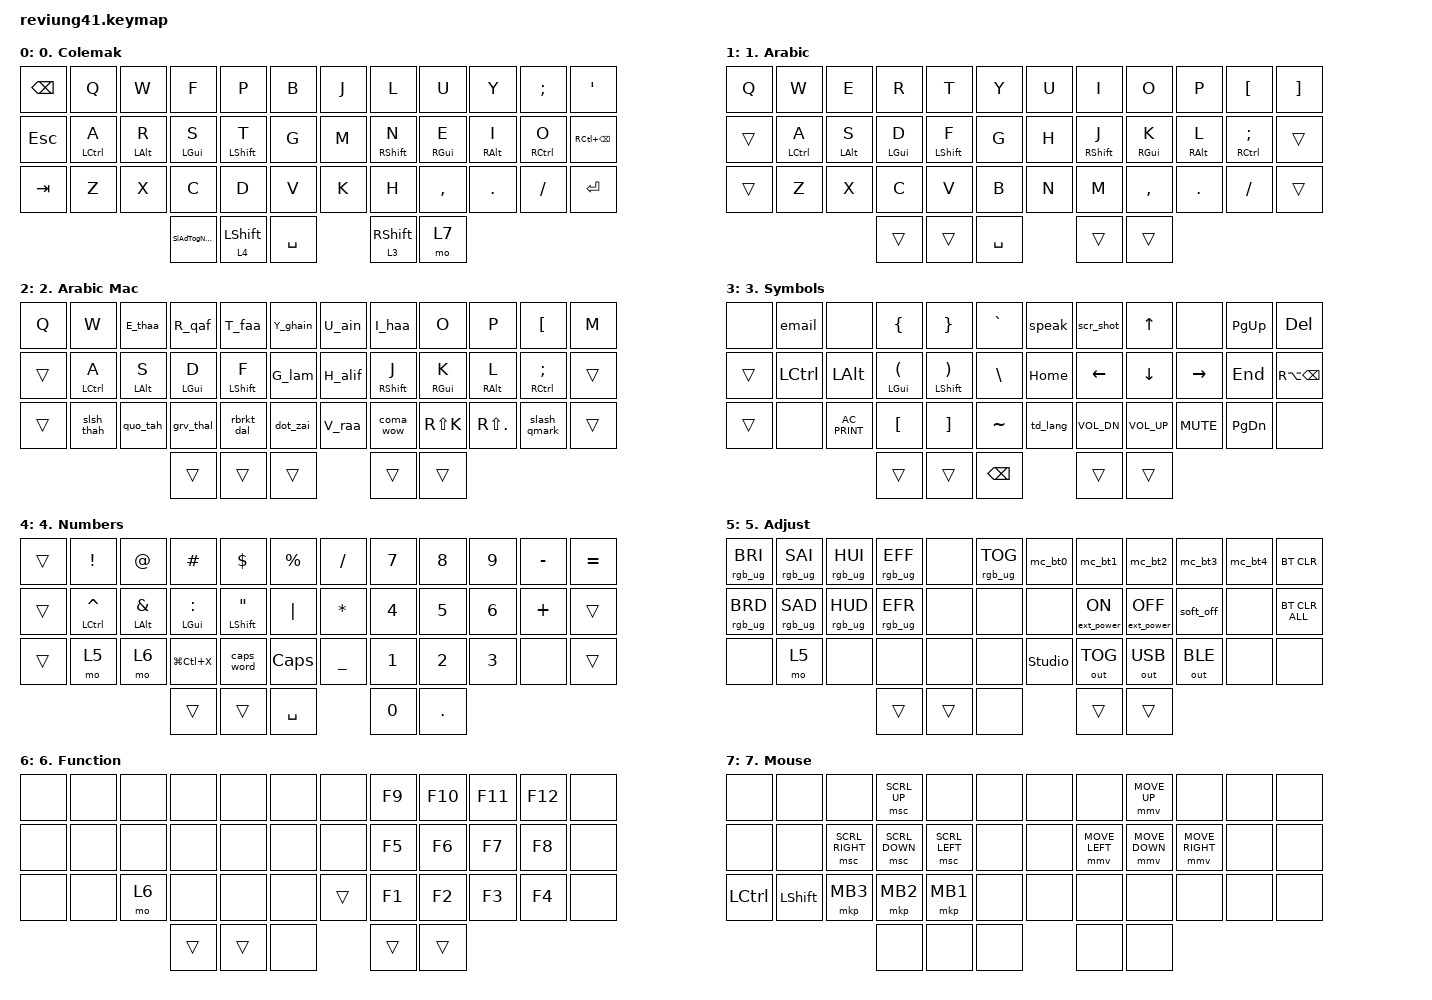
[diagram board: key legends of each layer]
/*
 * Copyright (c) 2020 The ZMK Contributors
 *
 * SPDX-License-Identifier: MIT
 */

#include <behaviors.dtsi>
#include <dt-bindings/zmk/bt.h>
#include <dt-bindings/zmk/ext_power.h>
#include <dt-bindings/zmk/keys.h>
#include <dt-bindings/zmk/outputs.h>
#include <dt-bindings/zmk/pointing.h>
#include <dt-bindings/zmk/rgb.h>

/ {
    macros {
        email: email {
            compatible = "zmk,behavior-macro";
            label = "EMAIL";
            #binding-cells = <0>;
            bindings = <&kp A &kp K &kp AT &kp A &kp L &kp I &kp K &kp A &kp R &kp A &kp M &kp DOT &kp C &kp O &kp M>;
        };

        speak: speak {
            compatible = "zmk,behavior-macro";
            label = "SPEAK";
            #binding-cells = <0>;
            bindings =
                <&macro_press>,
                <&kp LALT>,
                <&macro_tap>,
                <&kp ESCAPE>,
                <&macro_release>,
                <&kp LALT>;
        };

        scr_shot: scr_shot {
            compatible = "zmk,behavior-macro";
            label = "SCR_SHOT";
            #binding-cells = <0>;
            bindings =
                <&macro_press>,
                <&kp LEFT_SHIFT &kp RIGHT_GUI>,
                <&macro_tap>,
                <&kp N5>,
                <&macro_release>,
                <&kp LEFT_SHIFT &kp RIGHT_GUI>;
        };

        arabic_mac: arabic_mac {
            compatible = "zmk,behavior-macro";
            label = "ARABIC_MAC";
            #binding-cells = <0>;
            bindings =
                <&macro_press>,
                <&kp LEFT_CONTROL>,
                <&macro_tap>,
                <&kp SPACE>,
                <&macro_wait_time 1000>,
                <&macro_release>,
                <&kp LEFT_CONTROL>,
                <&macro_tap>,
                <&tog 1>;
        };

        lang_lx: lang_lx {
            compatible = "zmk,behavior-macro";
            #binding-cells = <0>;
            bindings = <&kp RC(SPACE)>, <&macro_wait_time 500>, <&tog 2>;

            label = "LANG_LX";
        };

        mc_bt0: mc_bt0 {
            compatible = "zmk,behavior-macro";
            #binding-cells = <0>;
            bindings =
                <&rgb_ug RGB_TOG>,
                <&macro_wait_time 500>,
                <&bt BT_SEL 0>,
                <&macro_wait_time 500>,
                <&rgb_ug RGB_TOG>;

            label = "MC_BT0";
        };

        mc_bt1: mc_bt1 {
            compatible = "zmk,behavior-macro";
            #binding-cells = <0>;
            bindings =
                <&rgb_ug RGB_TOG>,
                <&macro_wait_time 500>,
                <&bt BT_SEL 1>,
                <&macro_wait_time 500>,
                <&rgb_ug RGB_TOG>;

            label = "MC_BT1";
        };

        mc_bt2: mc_bt2 {
            compatible = "zmk,behavior-macro";
            #binding-cells = <0>;
            bindings =
                <&rgb_ug RGB_TOG>,
                <&macro_wait_time 500>,
                <&bt BT_SEL 2>,
                <&macro_wait_time 500>,
                <&rgb_ug RGB_TOG>;

            label = "MC_BT2";
        };

        mc_bt3: mc_bt3 {
            compatible = "zmk,behavior-macro";
            #binding-cells = <0>;
            bindings =
                <&rgb_ug RGB_TOG>,
                <&macro_wait_time 500>,
                <&bt BT_SEL 3>,
                <&macro_wait_time 500>,
                <&rgb_ug RGB_TOG>;

            label = "MC_BT3";
        };

        mc_bt4: mc_bt4 {
            compatible = "zmk,behavior-macro";
            #binding-cells = <0>;
            bindings =
                <&rgb_ug RGB_TOG>,
                <&macro_wait_time 500>,
                <&bt BT_SEL 4>,
                <&macro_wait_time 500>,
                <&rgb_ug RGB_TOG>;

            label = "MC_BT4";
        };
    };

    behaviors {
        hm: homerow_mods {
            compatible = "zmk,behavior-hold-tap";
            label = "HOMEROW_MODS";
            #binding-cells = <2>;
            tapping-term-ms = <200>;
            quick-tap-ms = <125>;
            flavor = "tap-preferred";
            bindings = <&kp>, <&kp>;
        };

        mo_tog: mo_tog {
            compatible = "zmk,behavior-hold-tap";
            #binding-cells = <2>;
            flavor = "balanced";
            tapping-term-ms = <200>;
            bindings = <&mo>, <&tog>;

            label = "MO_TOG";
            quick-tap-ms = <125>;
        };

        mo_sk: mo_sk {
            compatible = "zmk,behavior-hold-tap";
            #binding-cells = <2>;
            flavor = "balanced";
            tapping-term-ms = <200>;
            bindings = <&mo>, <&sk>;

            label = "MO_SK";
            quick-tap-ms = <125>;
        };

        SlAdTogNum: SlAdTogNum {
            compatible = "zmk,behavior-tap-dance";
            label = "SLADTOGNUM";
            #binding-cells = <0>;
            bindings = <&tog 5>, <&tog 4>;
        };

        langcaps: langcaps {
            compatible = "zmk,behavior-tap-dance";
            label = "LANGCAPS";
            #binding-cells = <0>;
            bindings = <&lang_lx>, <&caps_word>;
        };

        hmr: hmr {
            compatible = "zmk,behavior-hold-tap";
            label = "HMR";
            #binding-cells = <2>;
            tapping-term-ms = <200>;
            quick-tap-ms = <125>;
            flavor = "balanced";
            bindings = <&kp>, <&kp>;

            hold-trigger-key-positions = <0 1 2 3 4 5 12 13 14 15 16 17 24 25 26 27 28 29>;
            hold-trigger-on-release;
        };

        hml: hml {
            compatible = "zmk,behavior-hold-tap";
            label = "HML";
            #binding-cells = <2>;
            tapping-term-ms = <200>;
            quick-tap-ms = <125>;
            flavor = "balanced";
            bindings = <&kp>, <&kp>;

            hold-trigger-key-positions = <6 7 8 9 10 11 18 19 20 21 22 23 30 31 32 33 34 35>;
            hold-trigger-on-release;
        };

        slsh_thah: slsh_thah {
            compatible = "zmk,behavior-mod-morph";
            label = "SLSH_THAH";
            bindings = <&kp SLASH>, <&none>;

            #binding-cells = <0>;
            mods = <(MOD_RSFT|MOD_LSFT)>;
        };

        quo_tah: quo_tah {
            compatible = "zmk,behavior-mod-morph";
            label = "QUO_TAH";
            bindings = <&kp SINGLE_QUOTE>, <&kp N>;

            #binding-cells = <0>;
            mods = <(MOD_RSFT)>;
        };

        grv_thal: grv_thal {
            compatible = "zmk,behavior-mod-morph";
            label = "GRV_THAL";
            bindings = <&kp GRAVE>, <&kp Z>;

            #binding-cells = <0>;
            mods = <(MOD_RSFT)>;
        };

        rbrkt_dal: rbrkt_dal {
            compatible = "zmk,behavior-mod-morph";
            label = "RBRKT_DAL";
            bindings = <&kp RBKT>, <&kp X>;

            #binding-cells = <0>;
            mods = <(MOD_RSFT)>;
        };

        dot_zai: dot_zai {
            compatible = "zmk,behavior-mod-morph";
            label = "DOT_ZAI";
            bindings = <&kp DOT>, <&kp H>;

            #binding-cells = <0>;
            mods = <(MOD_RSFT)>;
            keep-mods = <(MOD_RSFT)>;
        };

        V_raa: V_raa {
            compatible = "zmk,behavior-mod-morph";
            label = "V_RAA";
            bindings = <&kp V>, <&kp Y>;

            #binding-cells = <0>;
            mods = <(MOD_LSFT)>;
            keep-mods = <(MOD_LSFT)>;
        };

        coma_wow: coma_wow {
            compatible = "zmk,behavior-mod-morph";
            label = "COMA_WOW";
            bindings = <&kp COMMA>, <&kp C>;

            #binding-cells = <0>;
            mods = <(MOD_LSFT)>;
        };

        E_thaa: E_thaa {
            compatible = "zmk,behavior-mod-morph";
            label = "E_THAA";
            bindings = <&kp E>, <&kp A>;

            #binding-cells = <0>;
            mods = <(MOD_RSFT)>;
            keep-mods = <(MOD_RSFT)>;
        };

        R_qaf: R_qaf {
            compatible = "zmk,behavior-mod-morph";
            label = "R_QAF";
            bindings = <&kp R>, <&kp S>;

            #binding-cells = <0>;
            mods = <(MOD_RSFT)>;
            keep-mods = <(MOD_RSFT)>;
        };

        T_faa: T_faa {
            compatible = "zmk,behavior-mod-morph";
            label = "T_FAA";
            bindings = <&kp T>, <&kp E>;

            #binding-cells = <0>;
            mods = <(MOD_RSFT)>;
            keep-mods = <(MOD_RSFT)>;
        };

        Y_ghain: Y_ghain {
            compatible = "zmk,behavior-mod-morph";
            label = "Y_GHAIN";
            bindings = <&kp Y>, <&kp R>;

            #binding-cells = <0>;
            mods = <(MOD_RSFT)>;
            keep-mods = <(MOD_RSFT)>;
        };

        U_ain: U_ain {
            compatible = "zmk,behavior-mod-morph";
            label = "U_AIN";
            bindings = <&kp U>, <&kp X>;

            #binding-cells = <0>;
            mods = <(MOD_LSFT)>;
            keep-mods = <(MOD_LSFT)>;
        };

        I_haa: I_haa {
            compatible = "zmk,behavior-mod-morph";
            label = "I_HAA";
            bindings = <&kp I>, <&kp GRAVE>;

            #binding-cells = <0>;
            mods = <(MOD_LSFT)>;
            keep-mods = <(MOD_LSFT)>;
        };

        slash_qmark: slash_qmark {
            compatible = "zmk,behavior-mod-morph";
            label = "SLASH_QMARK";
            bindings = <&kp RS(L)>, <&kp QMARK>;

            #binding-cells = <0>;
            mods = <(MOD_LSFT)>;
        };

        H_alif: H_alif {
            compatible = "zmk,behavior-mod-morph";
            label = "H_ALIF";
            bindings = <&kp H>, <&kp N>;

            #binding-cells = <0>;
            mods = <(MOD_LSFT)>;
            keep-mods = <(MOD_LSFT)>;
        };

        G_lam: G_lam {
            compatible = "zmk,behavior-mod-morph";
            label = "G_LAM";
            bindings = <&kp G>, <&none>;

            #binding-cells = <0>;
            mods = <(MOD_RSFT)>;
        };

        td_lang: td_lang {
            compatible = "zmk,behavior-tap-dance";
            label = "TD_LANG";
            #binding-cells = <0>;
            bindings = <&lang_lx>, <&arabic_mac>;
        };
    };

    combos {
        compatible = "zmk,combos";

        tog5_combo {
            bindings = <&tog 1>;
            key-positions = <40 36>;
        };
    };

    keymap {
        compatible = "zmk,keymap";

        default_layer {
            display-name = "0. Colemak";

            // -------------------------------------------------------------------------------------
            // |  TAB |  Q  |  W  |  F  |  P  |  B  |   |  J  |  L   |  U  |  Y  |  ;  |   BKSP    |
            // | CTRL |  A  |  R  |  S  |  T  |  G  |   |  M  |  N   |  E  |  I  |  O  |    '      |
            // | SHFT |  Z  |  X  |  C  |  D  |  V  |   |  K  |  H   |  ,  |  .  |  /  | SHFT(RET) |
            //                         | ALT | LWR | SPC | RSE  | ALT |

            bindings = <
&kp BACKSPACE  &kp Q         &kp W        &kp F        &kp P            &kp B             &kp J  &kp L           &kp U        &kp Y        &kp SEMI      &kp SQT
&kp ESC        &hml LCTRL A  &hml LALT R  &hml LGUI S  &hml LSHFT T     &kp G             &kp M  &hmr RSHIFT N   &hmr RGUI E  &hmr RALT I  &hmr RCTRL O  &kp RC(BACKSPACE)
&kp TAB        &kp Z         &kp X        &kp C        &kp D            &kp V             &kp K  &kp H           &kp COMMA    &kp DOT      &kp FSLH      &kp ENTER
                                          &SlAdTogNum  &mo_sk 4 LSHIFT         &kp SPACE         &mo_sk 3 RSHFT  &mo 7
            >;

            label = "Default";
        };

        arabic_layer {
            display-name = "1. Arabic";
            bindings = <
&kp Q   &kp W        &kp E       &kp R       &kp T         &kp Y             &kp U  &kp I         &kp O       &kp P       &kp LEFT_BRACKET  &kp RIGHT_BRACKET
&trans  &hm LCTRL A  &hm LALT S  &hm LGUI D  &hm LSHIFT F  &kp G             &kp H  &hm RSHIFT J  &hm RGUI K  &hm RALT L  &hm RCTRL SEMI    &trans
&trans  &kp Z        &kp X       &kp C       &kp V         &kp B             &kp N  &kp M         &kp COMMA   &kp DOT     &kp FSLH          &trans
                                 &trans      &trans               &kp SPACE         &trans        &trans
            >;

            label = "Arabic";
        };

        arabic_mac {
            display-name = "2. Arabic Mac";
            bindings = <
&kp Q   &kp W         &E_thaa      &R_qaf       &T_faa        &Y_ghain          &U_ain   &I_haa        &kp O        &kp P        &kp LBKT         &kp M
&trans  &hml LCTRL A  &hml LALT S  &hml LGUI D  &hml LSHFT F  &G_lam            &H_alif  &hmr RSHFT J  &hmr RGUI K  &hmr RALT L  &hmr RCTRL SEMI  &trans
&trans  &slsh_thah    &quo_tah     &grv_thal    &rbrkt_dal    &dot_zai          &V_raa   &coma_wow     &kp RS(K)    &kp RS(DOT)  &slash_qmark     &trans
                                   &trans       &trans                  &trans           &trans        &trans
            >;
        };

        raise_layer {
            display-name = "3. Symbols";

            // --------------------------------------------------------------------------------------------
            // |    |  1  |  2  |  3  |  4  |  5  |   |        |   7   |   UP    |   9    |   0   |  DEL  |
            // |    |  -  |  =  |  [  |  ]  |  \  |   |  HOME  |  LFT  |   DWN   |  RGT   |  END  |  F6   |
            // |    | ESC | GUI | ALT | CAPS|  "  |   |        | VOLUP |  VOLDN  |  MUTE  |       |       |
            //                       |     | ADJ | BKSP |    |     |

            bindings = <
&none   &email     &none           &kp LEFT_BRACE              &kp RIGHT_BRACE               &kp GRAVE            &speak    &scr_shot     &kp UP        &none       &kp PAGE_UP    &kp DEL
&trans  &kp LCTRL  &kp LALT        &hml LGUI LEFT_PARENTHESIS  &hml LSHFT RIGHT_PARENTHESIS  &kp BSLH             &kp HOME  &kp LEFT      &kp DOWN      &kp RIGHT   &kp END        &kp RA(BACKSPACE)
&trans  &none      &kp C_AC_PRINT  &kp LEFT_BRACKET            &kp RIGHT_BRACKET             &kp TILDE            &td_lang  &kp C_VOL_DN  &kp C_VOL_UP  &kp C_MUTE  &kp PAGE_DOWN  &none
                                   &trans                      &trans                                   &kp BSPC            &trans        &trans
            >;

            label = "Raise";
        };

        lower_layer {
            display-name = "4. Numbers";

            // ------------------------------------------------------------------------------------
            // |    |  !  |  @  |  #  |  $  |  %  |   |  ^  |  &  |  *  |  (  |  )  |      DEL    |
            // |    |  _  |  +  |  {  |  }  | "|" |   | LFT | DWN |  UP | RGT |  `  |       ~     |
            // |    | ESC | GUI | ALT | CAPS|  "  |   | HOME| END | PGUP| PGDN| PRSC| SHFT(SPACE) |
            //                       |     |     | RET | ADJ |     |

            bindings = <
&trans  &kp EXCL          &kp AT          &kp HASH         &kp DLLR                  &kp PRCNT             &kp SLASH  &kp NUMBER_7  &kp NUMBER_8  &kp NUMBER_9  &kp MINUS  &kp EQUAL
&trans  &hml LCTRL CARET  &hml LALT AMPS  &hml LGUI COLON  &hml LSHFT DOUBLE_QUOTES  &kp PIPE              &kp ASTRK  &kp NUMBER_4  &kp NUMBER_5  &kp NUMBER_6  &kp PLUS   &trans
&trans  &mo 5             &mo 6           &kp LG(LC(X))    &caps_word                &kp CAPS              &kp UNDER  &kp N1        &kp NUMBER_2  &kp NUMBER_3  &none      &trans
                                          &trans           &trans                               &kp SPACE             &kp NUMBER_0  &kp DOT
            >;

            label = "Lower";
        };

        adjust_layer {
            display-name = "5. Adjust";

            // ---------------------------------------------------------------------------------------------------------
            // | RGB BRI+ | RGB SAT+ | RGB HUE+ | RGB ANI+ |    | RGB TOG |   |  BT1  | BT2 | BT3 | BT4 | BT5 | BT CLR |
            // | RGB BRI- | RGB SAT- | RGB HUE- | RGB ANI- |    |         |   |       |     |     |     |     |        |
            // |          |          |          |          |    |         |   |       |     |     |     |     |        |
            //                                           |     |     |     |     |     |

            bindings = <
&rgb_ug RGB_BRI  &rgb_ug RGB_SAI  &rgb_ug RGB_HUI  &rgb_ug RGB_EFF  &none   &rgb_ug RGB_TOG         &mc_bt0         &mc_bt1           &mc_bt2            &mc_bt3       &mc_bt4  &bt BT_CLR
&rgb_ug RGB_BRD  &rgb_ug RGB_SAD  &rgb_ug RGB_HUD  &rgb_ug RGB_EFR  &none   &none                   &none           &ext_power EP_ON  &ext_power EP_OFF  &soft_off     &none    &bt BT_CLR_ALL
&none            &mo 5            &none            &none            &none   &none                   &studio_unlock  &out OUT_TOG      &out OUT_USB       &out OUT_BLE  &none    &none
                                                   &trans           &trans                   &none                  &trans            &trans
            >;

            label = "Adjust";
        };

        function_layer {
            display-name = "6. Function";

            // ---------------------------------------------------------------------------------------------------------
            // |  | F1 | F2  | F3  |  F4   |     |          |     |     |   |   |   |   |
            // |  | F5 | F6  | F7  |  F8   |     |          |     |     |   |   |   |   |
            // |  | F9 | F10 | F11 |  F12  |     |          |     |     |   |   |   |   |
            //                     |       |     |          |     |     |

            bindings = <
&none  &none  &none  &none   &none   &none         &none   &kp F9  &kp F10  &kp F11  &kp F12  &none
&none  &none  &none  &none   &none   &none         &none   &kp F5  &kp F6   &kp F7   &kp F8   &none
&none  &none  &mo 6  &none   &none   &none         &trans  &kp F1  &kp F2   &kp F3   &kp F4   &none
                     &trans  &trans         &none          &trans  &trans
            >;

            label = "Function";
        };

        mouse_layer {
            display-name = "7. Mouse";
            bindings = <
&none      &none      &none            &msc SCRL_UP    &none           &none         &none  &none           &mmv MOVE_UP    &none            &none  &none
&none      &none      &msc SCRL_RIGHT  &msc SCRL_DOWN  &msc SCRL_LEFT  &none         &none  &mmv MOVE_LEFT  &mmv MOVE_DOWN  &mmv MOVE_RIGHT  &none  &none
&kp LCTRL  &kp LSHFT  &mkp MB3         &mkp MB2        &mkp MB1        &none         &none  &none           &none           &none            &none  &none
                                       &none           &none                  &none         &none           &none
            >;
        };
    };

    conditional_layers {
        compatible = "zmk,conditional-layers";

        L4_L5 {
            if-layers = <5 4>;
            then-layer = <5>;
        };

        L4_L6 {
            if-layers = <4 6>;
            then-layer = <6>;
        };
    };
};
